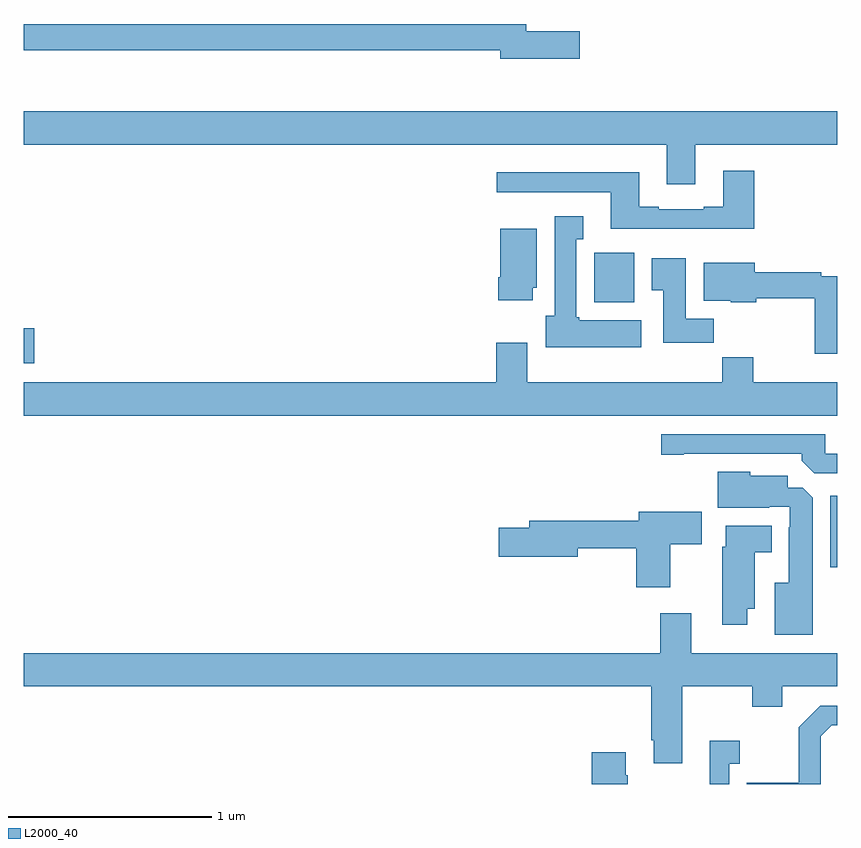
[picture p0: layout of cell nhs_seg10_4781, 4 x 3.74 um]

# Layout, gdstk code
import gdstk
lib = gdstk.Library(unit=1e-6, precision=1e-09)
def R(c, l, rs):  # rectangles x0, y0, x1, y1
    for r in rs: c.add(gdstk.rectangle(r[:2], r[2:], *l))
def P(c, l, *ps):  # polygons
    for p in ps: c.add(gdstk.Polygon(p, *l))
L2000_40 = (2000, 40)

nhs_seg10_4781 = lib.new_cell('nhs_seg10_4781')
R(nhs_seg10_4781, L2000_40, [(388.967,1303.565,389,1303.918), (385,1304.57,385.051,1304.741), (387.806,1304.87,388.003,1305.112)])
P(nhs_seg10_4781, L2000_40, [(387.733,1306.202),(387.472,1306.202),(387.472,1306.238),(385,1306.238),(385,1306.11),(387.344,1306.11),(387.344,1306.067),(387.733,1306.067)],
  [(388.303,1305.644),(389,1305.644),(389,1305.808),(385,1305.808),(385,1305.644),(388.163,1305.644),(388.163,1305.45),(388.303,1305.45)],
  [(388.592,1305.517),(388.439,1305.517),(388.439,1305.34),(388.343,1305.34),(388.343,1305.327),(388.123,1305.327),(388.123,1305.34),(388.027,1305.34),(388.027,1305.508),(387.327,1305.508),(387.327,1305.411),(387.887,1305.411),(387.887,1305.23),(388.592,1305.23)],
  [(388.036,1304.782),(387.732,1304.782),(387.732,1304.796),(387.718,1304.796),(387.718,1305.179),(387.751,1305.179),(387.751,1305.292),(387.611,1305.292),(387.611,1304.802),(387.566,1304.802),(387.566,1304.648),(388.036,1304.648)],
  [(387.502,1304.94),(387.523,1304.94),(387.523,1305.232),(387.344,1305.232),(387.344,1304.992),(387.332,1304.992),(387.332,1304.88),(387.502,1304.88)],
  [(388.394,1304.788),(388.255,1304.788),(388.255,1305.085),(388.088,1305.085),(388.088,1304.929),(388.145,1304.929),(388.145,1304.67),(388.394,1304.67)],
  [(389,1304.997),(388.922,1304.997),(388.922,1305.017),(388.594,1305.017),(388.594,1305.064),(388.343,1305.064),(388.343,1304.876),(388.476,1304.876),(388.476,1304.87),(388.602,1304.87),(388.602,1304.889),(388.891,1304.889),(388.891,1304.616),(389,1304.616)],
  [(389,1304.476),(388.587,1304.476),(388.587,1304.6),(388.435,1304.6),(388.435,1304.476),(387.475,1304.476),(387.475,1304.671),(387.323,1304.671),(387.323,1304.476),(385,1304.476),(385,1304.312),(389,1304.312)],
  [(389,1304.124),(388.941,1304.124),(388.941,1304.22),(388.134,1304.22),(388.134,1304.119),(388.246,1304.119),(388.246,1304.124),(388.826,1304.124),(388.826,1304.09),(388.887,1304.028),(389,1304.028)],
  [(388.879,1303.907),(388.83,1303.956),(388.756,1303.956),(388.756,1304.017),(388.572,1304.017),(388.572,1304.035),(388.412,1304.035),(388.412,1303.859),(388.667,1303.859),(388.667,1303.863),(388.767,1303.863),(388.767,1303.763),(388.763,1303.763),(388.763,1303.489),(388.694,1303.489),(388.694,1303.235),(388.879,1303.235)],
  [(388.18,1303.678),(388.333,1303.678),(388.333,1303.84),(388.025,1303.84),(388.025,1303.796),(387.485,1303.796),(387.485,1303.76),(387.336,1303.76),(387.336,1303.618),(387.724,1303.618),(387.724,1303.66),(388.013,1303.66),(388.013,1303.467),(388.18,1303.467)],
  [(388.558,1303.361),(388.594,1303.361),(388.594,1303.64),(388.678,1303.64),(388.678,1303.771),(388.451,1303.771),(388.451,1303.668),(388.436,1303.668),(388.436,1303.284),(388.558,1303.284)],
  [(388.237,1302.98),(388.582,1302.98),(388.582,1302.881),(388.729,1302.881),(388.729,1302.98),(389,1302.98),(389,1303.144),(388.282,1303.144),(388.282,1303.339),(388.13,1303.339),(388.13,1303.144),(385,1303.144),(385,1302.98),(388.085,1302.98),(388.085,1302.715),(388.097,1302.715),(388.097,1302.603),(388.237,1302.603)],
  [(388.92,1302.735),(388.974,1302.789),(389,1302.789),(389,1302.885),(388.917,1302.885),(388.812,1302.779),(388.812,1302.507),(388.555,1302.507),(388.555,1302.5),(388.92,1302.5)],
  [(388.47,1302.599),(388.522,1302.599),(388.522,1302.712),(388.373,1302.712),(388.373,1302.5),(388.47,1302.5)],
  [(387.969,1302.542),(387.961,1302.542),(387.961,1302.655),(387.794,1302.655),(387.794,1302.5),(387.969,1302.5)])

lib.write_gds('nhs_seg10_4781.gds')
